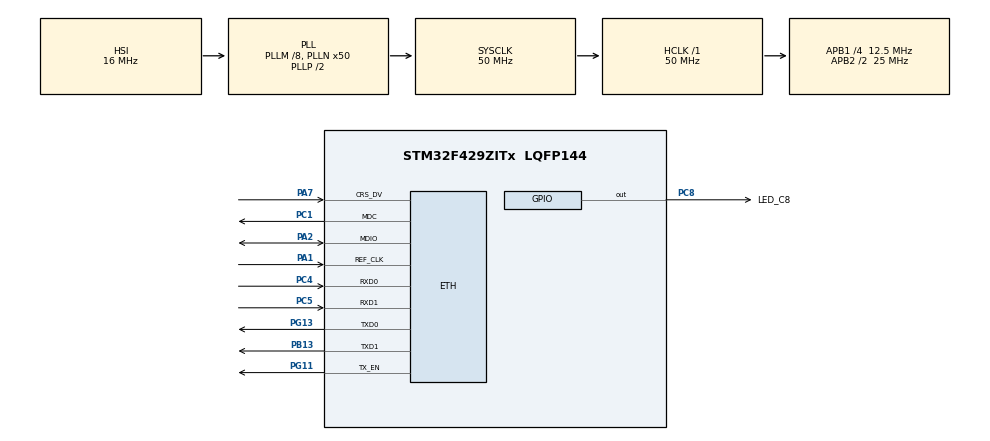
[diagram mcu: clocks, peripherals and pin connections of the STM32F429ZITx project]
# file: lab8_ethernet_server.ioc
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ETH.MACAddr=00\:80\:E1\:CD\:AF\:AD
ETH.MediaInterface=HAL_ETH_RMII_MODE
FREERTOS.Tasks01=defaultTask,0,128,StartDefaultTask,Default,NULL,Dynamic,NULL,NULL
FREERTOS.configTOTAL_HEAP_SIZE=75360
LWIP.BSP.number=1
LWIP.GATEWAY_ADDRESS=192.168.003.254
LWIP.IP_ADDRESS=192.168.003.174
LWIP.LWIP_DHCP=0
LWIP.MEM_SIZE=10*1024
LWIP.NETMASK_ADDRESS=255.255.255.000
LWIP.Version=v2.1.2_Cube
LWIP0.BSP.STBoard=false
LWIP0.BSP.api=BSP_COMPONENT_DRIVER
LWIP0.BSP.component=LAN8742
LWIP0.BSP.instance=LAN8742
LWIP0.BSP.name=Driver_PHY
LWIP0.BSP.semaphore=S_LAN8742
LWIP0.BSP.solution=LAN8742
Mcu.Family=STM32F4
Mcu.Name=STM32F429ZITx
Mcu.Package=LQFP144
NVIC.ETH_IRQn=true\:5\:0\:false\:false\:true\:true\:false\:true\:true
NVIC.PriorityGroup=NVIC_PRIORITYGROUP_4
NVIC.TIM1_UP_TIM10_IRQn=true\:15\:0\:false\:false\:true\:false\:false\:true\:true
NVIC.TimeBase=TIM1_UP_TIM10_IRQn
NVIC.TimeBaseIP=TIM1
PA1.Mode=RMII
PA1.Signal=ETH_REF_CLK
PA13.Mode=Serial_Wire
PA13.Signal=SYS_JTMS-SWDIO
PA14.Mode=Serial_Wire
PA14.Signal=SYS_JTCK-SWCLK
PA2.Mode=RMII
PA2.Signal=ETH_MDIO
PA7.Mode=RMII
PA7.Signal=ETH_CRS_DV
PB13.Mode=RMII
PB13.Signal=ETH_TXD1
PC1.Mode=RMII
PC1.Signal=ETH_MDC
PC14/OSC32_IN.Mode=LSE-External-Oscillator
PC14/OSC32_IN.Signal=RCC_OSC32_IN
PC15/OSC32_OUT.Mode=LSE-External-Oscillator
PC15/OSC32_OUT.Signal=RCC_OSC32_OUT
PC4.Mode=RMII
PC4.Signal=ETH_RXD0
PC5.Mode=RMII
PC5.Signal=ETH_RXD1
PC8.GPIO_Label=LED_C8
PC8.Signal=GPIO_Output
PG11.Mode=RMII
PG11.Signal=ETH_TX_EN
PG13.Mode=RMII
PG13.Signal=ETH_TXD0
PH0/OSC_IN.Mode=HSE-External-Oscillator
PH0/OSC_IN.Signal=RCC_OSC_IN
PH1/OSC_OUT.Mode=HSE-External-Oscillator
PH1/OSC_OUT.Signal=RCC_OSC_OUT
ProjectManager.HeapSize=0x200
ProjectManager.StackSize=0x400
ProjectManager.TargetToolchain=MDK-ARM V5.32
RCC.48MHZClocksFreq_Value=14285714.285714285
RCC.AHBFreq_Value=50000000
RCC.APB1CLKDivider=RCC_HCLK_DIV4
RCC.APB1Freq_Value=12500000
RCC.APB1TimFreq_Value=25000000
RCC.APB2CLKDivider=RCC_HCLK_DIV2
RCC.APB2Freq_Value=25000000
RCC.APB2TimCLKDivider=2
RCC.APB2TimFreq_Value=50000000
RCC.CortexFreq_Value=50000000
RCC.HCLKFreq_Value=50000000
RCC.HSE_VALUE=8000000
RCC.HSI_VALUE=16000000
RCC.PLLM=8
RCC.PLLMUL=RCC_PLL_MUL9
RCC.PLLN=50
RCC.PLLQ=7
RCC.PRESCALERUSB=RCC_USBCLKSOURCE_PLL_DIV1_5
RCC.SYSCLKFreq_VALUE=50000000
RCC.SYSCLKSource=RCC_SYSCLKSOURCE_PLLCLK
RCC.SYSCLKSourceVirtual=RCC_SYSCLKSOURCE_PLLCLK
RCC.USBFreq_Value=48000000
RCC.VCOOutputFreq_Value=100000000
VP_FREERTOS_VS_CMSIS_V1.Mode=CMSIS_V1
VP_LWIP_VS_Enabled.Mode=Enabled
VP_SYS_VS_tim1.Mode=TIM1
board=NUCLEO-F429ZI

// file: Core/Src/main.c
/* USER CODE BEGIN Header */
/**
  ******************************************************************************
  * @file           : main.c
  * @brief          : Main program body
  ******************************************************************************
  * @attention
  *
  * Copyright (c) 2024 STMicroelectronics.
  * All rights reserved.
  *
  * This software is licensed under terms that can be found in the LICENSE file
  * in the root directory of this software component.
  * If no LICENSE file comes with this software, it is provided AS-IS.
  *
  ******************************************************************************
  */
/* USER CODE END Header */
#include "main.h"
#include "cmsis_os.h"
#include "lwip.h"
#include "gpio.h"

/* USER CODE BEGIN Includes */

//#include "tcpclient.h"
#include "FreeRTOS.h"
#include "task.h"
#include "semphr.h"
#include "lwip/opt.h"
#include "lwip/api.h"
#include "lwip/sys.h"
#include "string.h"
#include "stdio.h"
/* USER CODE END Includes */

/* USER CODE BEGIN PV */

/*********freeRTOS*********/
TaskHandle_t handleETH;
TaskHandle_t handleTCP_Init;
TaskHandle_t handleTCP_Send;
SemaphoreHandle_t xSemTCP;

/*********LWIP*********/
static struct netconn *connTCP, *newconn;
static struct netbuf *bufTCP;
static ip_addr_t *addr;
static unsigned short port;
char msgc[100];
char smsgc[200];
/* USER CODE END PV */

void SystemClock_Config(void);
void MX_FREERTOS_Init(void);

/* USER CODE BEGIN 0 */
/****************
!!don't remove!!
****************/
FILE __stdout;

int fputc(int c, FILE *f) {
  return (0);
}

/****************
!!don't remove!!
https://reurl.cc/Wx1YDe
****************/

void taskTCP_Init(void *pvParm){
	err_t err, accept, recv;
	//create new connection
	connTCP = netconn_new(NETCONN_TCP);

	if(connTCP != NULL){
		err = netconn_bind(connTCP, IP_ADDR_ANY, 230);
		if(err == ERR_OK){
			//listen
			netconn_listen(connTCP);
			//handle connection
			while(1){
				//catch new connection
				accept = netconn_accept(connTCP, &newconn);
				//establish new connection success
				if(accept == ERR_OK){
					//if a client connect into server -> turn on LED_C8
					//HAL_GPIO_WritePin(LED_C8_GPIO_Port, LED_C8_Pin, 1);
					//when server receive data from client -> process buf until end of nuf
					while(netconn_recv(newconn, &bufTCP) == ERR_OK){
						do{
							strncpy(msgc, bufTCP->p->payload, bufTCP->p->len);
							//get data from client, sent it back to client
							int msgLen = sprintf(smsgc, "this is sent by server \n client sent to server is %s \n", msgc);
							netconn_write(newconn, smsgc, msgLen, NETCONN_COPY);
							memset(msgc, 0, 100);
						}while(netbuf_next(bufTCP) > 0);
						netbuf_delete(bufTCP);
					}
				}
				//if nomore client connect into server -> turn off LED_C8
				//HAL_GPIO_WritePin(LED_C8_GPIO_Port, LED_C8_Pin, 0);
				netconn_close(newconn);
				netconn_delete(newconn);
			}
		}
		//create fail -> delete connection
		else{
			netconn_delete(connTCP);
		}
	}
}

void taskETH(void *pvParm){
	/*************
	init LwIP first
	must put this function in task -> it content some freeRTOS api when init
	*************/
	MX_LWIP_Init();

	xTaskCreate(taskTCP_Init, "TCP init", 1024, NULL, 0, &handleTCP_Init);

	while(1){
		HAL_GPIO_TogglePin(LED_C8_GPIO_Port, LED_C8_Pin);
		vTaskDelay(100);
	}
}

/* USER CODE END 0 */

int main(void)
{

  /* MCU Configuration--------------------------------------------------------*/

  /* Reset of all peripherals, Initializes the Flash interface and the Systick. */
  HAL_Init();

  /* Configure the system clock */
  SystemClock_Config();

  /* Initialize all configured peripherals */
  MX_GPIO_Init();
  /* USER CODE BEGIN 2 */
	xTaskCreate(taskETH, "ETH example", 1024, NULL, 1, &handleETH);
	vTaskStartScheduler();
  /* USER CODE END 2 */

  /* Call init function for freertos objects (in freertos.c) */
  MX_FREERTOS_Init();

  /* Start scheduler */
  osKernelStart();

  /* We should never get here as control is now taken by the scheduler */
  /* Infinite loop */
  while (1)
  {

  }
}

void SystemClock_Config(void)
{
  RCC_OscInitTypeDef RCC_OscInitStruct = {0};
  RCC_ClkInitTypeDef RCC_ClkInitStruct = {0};

  /** Configure the main internal regulator output voltage
  */
  __HAL_RCC_PWR_CLK_ENABLE();
  __HAL_PWR_VOLTAGESCALING_CONFIG(PWR_REGULATOR_VOLTAGE_SCALE3);

  /** Initializes the RCC Oscillators according to the specified parameters
  * in the RCC_OscInitTypeDef structure.
  */
  RCC_OscInitStruct.OscillatorType = RCC_OSCILLATORTYPE_HSI;
  RCC_OscInitStruct.HSIState = RCC_HSI_ON;
  RCC_OscInitStruct.HSICalibrationValue = RCC_HSICALIBRATION_DEFAULT;
  RCC_OscInitStruct.PLL.PLLState = RCC_PLL_ON;
  RCC_OscInitStruct.PLL.PLLSource = RCC_PLLSOURCE_HSI;
  RCC_OscInitStruct.PLL.PLLM = 8;
  RCC_OscInitStruct.PLL.PLLN = 50;
  RCC_OscInitStruct.PLL.PLLP = RCC_PLLP_DIV2;
  RCC_OscInitStruct.PLL.PLLQ = 7;
  if (HAL_RCC_OscConfig(&RCC_OscInitStruct) != HAL_OK)
  {
    Error_Handler();
  }

  /** Initializes the CPU, AHB and APB buses clocks
  */
  RCC_ClkInitStruct.ClockType = RCC_CLOCKTYPE_HCLK|RCC_CLOCKTYPE_SYSCLK
                              |RCC_CLOCKTYPE_PCLK1|RCC_CLOCKTYPE_PCLK2;
  RCC_ClkInitStruct.SYSCLKSource = RCC_SYSCLKSOURCE_PLLCLK;
  RCC_ClkInitStruct.AHBCLKDivider = RCC_SYSCLK_DIV1;
  RCC_ClkInitStruct.APB1CLKDivider = RCC_HCLK_DIV4;
  RCC_ClkInitStruct.APB2CLKDivider = RCC_HCLK_DIV2;

  if (HAL_RCC_ClockConfig(&RCC_ClkInitStruct, FLASH_LATENCY_1) != HAL_OK)
  {
    Error_Handler();
  }
}

void HAL_TIM_PeriodElapsedCallback(TIM_HandleTypeDef *htim)
{
  if (htim->Instance == TIM1) {
    HAL_IncTick();
  }
}

void Error_Handler(void)
{
  __disable_irq();
  while (1)
  {
  }
}

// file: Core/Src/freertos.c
/* USER CODE BEGIN Header */
/**
  ******************************************************************************
  * File Name          : freertos.c
  * Description        : Code for freertos applications
  ******************************************************************************
  * @attention
  *
  * Copyright (c) 2024 STMicroelectronics.
  * All rights reserved.
  *
  * This software is licensed under terms that can be found in the LICENSE file
  * in the root directory of this software component.
  * If no LICENSE file comes with this software, it is provided AS-IS.
  *
  ******************************************************************************
  */
/* USER CODE END Header */

#include "FreeRTOS.h"
#include "task.h"
#include "main.h"
#include "cmsis_os.h"

osThreadId defaultTaskHandle;

void StartDefaultTask(void const * argument);

extern void MX_LWIP_Init(void);
void MX_FREERTOS_Init(void); /* (MISRA C 2004 rule 8.1) */

/* GetIdleTaskMemory prototype (linked to static allocation support) */
void vApplicationGetIdleTaskMemory( StaticTask_t **ppxIdleTaskTCBBuffer, StackType_t **ppxIdleTaskStackBuffer, uint32_t *pulIdleTaskStackSize );

/* USER CODE BEGIN GET_IDLE_TASK_MEMORY */
static StaticTask_t xIdleTaskTCBBuffer;
static StackType_t xIdleStack[configMINIMAL_STACK_SIZE];

void vApplicationGetIdleTaskMemory( StaticTask_t **ppxIdleTaskTCBBuffer, StackType_t **ppxIdleTaskStackBuffer, uint32_t *pulIdleTaskStackSize )
{
  *ppxIdleTaskTCBBuffer = &xIdleTaskTCBBuffer;
  *ppxIdleTaskStackBuffer = &xIdleStack[0];
  *pulIdleTaskStackSize = configMINIMAL_STACK_SIZE;
  /* place for user code */
}
/* USER CODE END GET_IDLE_TASK_MEMORY */

void MX_FREERTOS_Init(void) {

  /* Create the thread(s) */
  /* definition and creation of defaultTask */
  osThreadDef(defaultTask, StartDefaultTask, osPriorityNormal, 0, 128);
  defaultTaskHandle = osThreadCreate(osThread(defaultTask), NULL);

}

void StartDefaultTask(void const * argument)
{
  /* init code for LWIP */
  MX_LWIP_Init();
  for(;;)
  {
    osDelay(1);
  }
}
